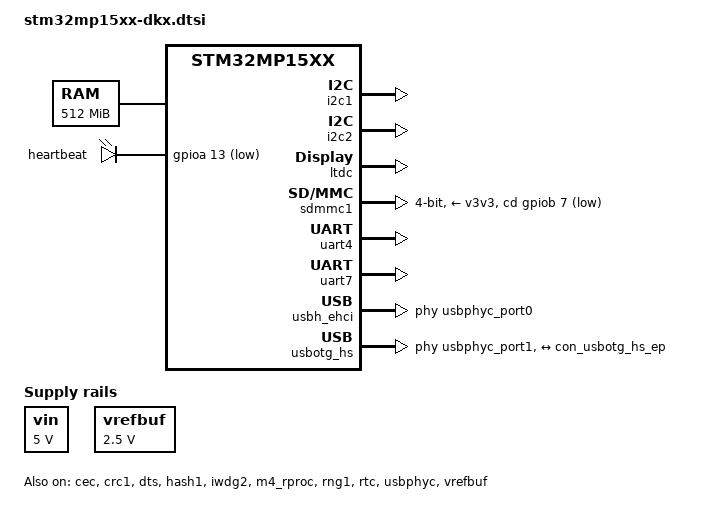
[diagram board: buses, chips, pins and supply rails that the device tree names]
// SPDX-License-Identifier: (GPL-2.0+ OR BSD-3-Clause)
/*
 * Copyright (C) STMicroelectronics 2019 - All Rights Reserved
 * Author: Alexandre Torgue <alexandre.torgue@st.com> for STMicroelectronics.
 */

#include <dt-bindings/gpio/gpio.h>
#include <dt-bindings/mfd/st,stpmic1.h>

/ {
	memory@c0000000 {
		device_type = "memory";
		reg = <0xc0000000 0x20000000>;
	};

	reserved-memory {
		#address-cells = <1>;
		#size-cells = <1>;
		ranges;

		mcuram2: mcuram2@10000000 {
			compatible = "shared-dma-pool";
			reg = <0x10000000 0x40000>;
			no-map;
		};

		vdev0vring0: vdev0vring0@10040000 {
			compatible = "shared-dma-pool";
			reg = <0x10040000 0x1000>;
			no-map;
		};

		vdev0vring1: vdev0vring1@10041000 {
			compatible = "shared-dma-pool";
			reg = <0x10041000 0x1000>;
			no-map;
		};

		vdev0buffer: vdev0buffer@10042000 {
			compatible = "shared-dma-pool";
			reg = <0x10042000 0x4000>;
			no-map;
		};

		mcuram: mcuram@30000000 {
			compatible = "shared-dma-pool";
			reg = <0x30000000 0x40000>;
			no-map;
		};

		retram: retram@38000000 {
			compatible = "shared-dma-pool";
			reg = <0x38000000 0x10000>;
			no-map;
		};

		gpu_reserved: gpu@d4000000 {
			reg = <0xd4000000 0x4000000>;
			no-map;
		};
	};

	led {
		compatible = "gpio-leds";
		led-blue {
			label = "heartbeat";
			gpios = <&gpioa 13 GPIO_ACTIVE_LOW>;
			linux,default-trigger = "heartbeat";
			default-state = "on";
		};
	};

	vin: vin {
		compatible = "regulator-fixed";
		regulator-name = "vin";
		regulator-min-microvolt = <5000000>;
		regulator-max-microvolt = <5000000>;
		regulator-always-on;
	};
};

&adc {
	pinctrl-names = "default";
	pinctrl-0 = <&adc12_ain_pins_a>, <&adc12_usb_cc_pins_a>;
	vdd-supply = <&vdd>;
	vdda-supply = <&vdd>;
	vref-supply = <&vrefbuf>;
	status = "disabled";
	adc1: adc@0 {
		/*
		 * Type-C USB_PWR_CC1 & USB_PWR_CC2 on in18 & in19.
		 * Use at least 5 * RC time, e.g. 5 * (Rp + Rd) * C:
		 * 5 * (56 + 47kOhms) * 5pF => 2.5us.
		 * Use arbitrary margin here (e.g. 5us).
		 */
		st,min-sample-time-nsecs = <5000>;
		/* AIN connector, USB Type-C CC1 & CC2 */
		st,adc-channels = <0 1 6 13 18 19>;
		status = "okay";
	};
	adc2: adc@100 {
		/* AIN connector, USB Type-C CC1 & CC2 */
		st,adc-channels = <0 1 2 6 18 19>;
		st,min-sample-time-nsecs = <5000>;
		status = "okay";
	};
};

&cec {
	pinctrl-names = "default", "sleep";
	pinctrl-0 = <&cec_pins_b>;
	pinctrl-1 = <&cec_sleep_pins_b>;
	status = "okay";
};

&crc1 {
	status = "okay";
};

&dts {
	status = "okay";
};

&gpu {
	contiguous-area = <&gpu_reserved>;
};

&hash1 {
	status = "okay";
};

&i2c1 {
	pinctrl-names = "default", "sleep";
	pinctrl-0 = <&i2c1_pins_a>;
	pinctrl-1 = <&i2c1_sleep_pins_a>;
	i2c-scl-rising-time-ns = <100>;
	i2c-scl-falling-time-ns = <7>;
	status = "okay";
	/delete-property/dmas;
	/delete-property/dma-names;
};

&i2c2 {
	pinctrl-names = "default", "sleep";
	pinctrl-0 = <&i2c2_pins_z>;
	pinctrl-1 = <&i2c2_sleep_pins_z>;
	i2c-scl-rising-time-ns = <100>;
	i2c-scl-falling-time-ns = <7>;
	status = "okay";
	/delete-property/dmas;
	/delete-property/dma-names;
};

&i2c4 {
	pinctrl-names = "default", "sleep";
	pinctrl-0 = <&i2c4_pins_a>;
	pinctrl-1 = <&i2c4_sleep_pins_a>;
	i2c-scl-rising-time-ns = <185>;
	i2c-scl-falling-time-ns = <20>;
	clock-frequency = <400000>;
	status = "disabled";
	/* spare dmas for other usage */
	/delete-property/dmas;
	/delete-property/dma-names;

	stusb1600@28 {
		compatible = "st,stusb1600";
		reg = <0x28>;
		interrupts = <11 IRQ_TYPE_LEVEL_LOW>;
		interrupt-parent = <&gpioi>;
		pinctrl-names = "default";
		pinctrl-0 = <&stusb1600_pins_a>;
		status = "okay";
		vdd-supply = <&vin>;

		connector {
			compatible = "usb-c-connector";
			label = "USB-C";
			power-role = "dual";
			typec-power-opmode = "default";

			port {
				con_usbotg_hs_ep: endpoint {
					remote-endpoint = <&usbotg_hs_ep>;
				};
			};
		};
	};

	pmic: stpmic@33 {
		compatible = "st,stpmic1";
		reg = <0x33>;
		interrupts-extended = <&gpioa 0 IRQ_TYPE_EDGE_FALLING>;
		interrupt-controller;
		#interrupt-cells = <2>;
		status = "okay";

		regulators {
			compatible = "st,stpmic1-regulators";
			buck1-supply = <&vin>;
			buck2-supply = <&vin>;
			buck3-supply = <&vin>;
			buck4-supply = <&vin>;
			ldo1-supply = <&v3v3>;
//			ldo2-supply = <&vin>;
			ldo3-supply = <&vdd_ddr>;
			ldo4-supply = <&vin>;
//			ldo5-supply = <&vin>;
			ldo6-supply = <&v3v3>;
			vref_ddr-supply = <&vin>;
			boost-supply = <&vin>;
			pwr_sw1-supply = <&bst_out>;
			pwr_sw2-supply = <&bst_out>;

			vddcore: buck1 {
				regulator-name = "vddcore";
				regulator-min-microvolt = <1200000>;
				regulator-max-microvolt = <1350000>;
				regulator-always-on;
				regulator-initial-mode = <0>;
				regulator-over-current-protection;
			};

			vdd_ddr: buck2 {
				regulator-name = "vdd_ddr";
				regulator-min-microvolt = <1350000>;
				regulator-max-microvolt = <1350000>;
				regulator-always-on;
				regulator-initial-mode = <0>;
				regulator-over-current-protection;
			};

			vdd: buck3 {
				regulator-name = "vdd";
				regulator-min-microvolt = <3300000>;
				regulator-max-microvolt = <3300000>;
				regulator-always-on;
				st,mask-reset;
				regulator-initial-mode = <0>;
				regulator-over-current-protection;
			};

			v3v3: buck4 {
				regulator-name = "v3v3";
				regulator-min-microvolt = <3300000>;
				regulator-max-microvolt = <3300000>;
				regulator-always-on;
				regulator-over-current-protection;
				regulator-initial-mode = <0>;
			};

			v1v8_audio: ldo1 {
				regulator-name = "v1v8_audio";
				regulator-min-microvolt = <1800000>;
				regulator-max-microvolt = <1800000>;
				regulator-always-on;
				interrupts = <IT_CURLIM_LDO1 0>;
			};

			v3v3_hdmi: ldo2 {
				regulator-name = "v3v3_hdmi";
				regulator-min-microvolt = <3300000>;
				regulator-max-microvolt = <3300000>;
				regulator-always-on;
				interrupts = <IT_CURLIM_LDO2 0>;
			};

			vdd_usb: ldo4 {
				regulator-name = "vdd_usb";
				interrupts = <IT_CURLIM_LDO4 0>;
			};

			v1v2_hdmi: ldo6 {
				regulator-name = "v1v2_hdmi";
				regulator-min-microvolt = <1200000>;
				regulator-max-microvolt = <1200000>;
				regulator-always-on;
				interrupts = <IT_CURLIM_LDO6 0>;
			};

			vref_ddr: vref_ddr {
				regulator-name = "vref_ddr";
				regulator-always-on;
			};

			bst_out: boost {
				regulator-name = "bst_out";
				interrupts = <IT_OCP_BOOST 0>;
			};

			vbus_otg: pwr_sw1 {
				regulator-name = "vbus_otg";
				interrupts = <IT_OCP_OTG 0>;
			 };

			vbus_sw: pwr_sw2 {
				regulator-name = "vbus_sw";
				interrupts = <IT_OCP_SWOUT 0>;
				regulator-active-discharge = <1>;
			};
		};

		onkey {
			compatible = "st,stpmic1-onkey";
			interrupts = <IT_PONKEY_F 0>, <IT_PONKEY_R 0>;
			interrupt-names = "onkey-falling", "onkey-rising";
			power-off-time-sec = <10>;
//			status = "okay";
		};

		watchdog {
			compatible = "st,stpmic1-wdt";
			status = "disabled";
		};
	};
};

&ipcc {
	status = "okay";
};

&iwdg2 {
	timeout-sec = <32>;
	status = "okay";
};

&ltdc {
	pinctrl-names = "default", "sleep";
	pinctrl-0 = <&ltdc_pins_a>;
	pinctrl-1 = <&ltdc_sleep_pins_a>;
	status = "okay";

	port {
		ltdc_ep0_out: endpoint@0 {
			reg = <0>;

			//fen-D
//			remote-endpoint = <&sii9022_in>;
		};
	};
};

&m4_rproc {
	memory-region = <&retram>, <&mcuram>, <&mcuram2>, <&vdev0vring0>,
			<&vdev0vring1>, <&vdev0buffer>;
	mboxes = <&ipcc 0>, <&ipcc 1>, <&ipcc 2>, <&ipcc 3>;
	mbox-names = "vq0", "vq1", "shutdown", "detach";
	interrupt-parent = <&exti>;
	interrupts = <68 1>;
	status = "okay";
};

&pwr_regulators {
	vdd-supply = <&vdd>;
	vdd_3v3_usbfs-supply = <&vdd_usb>;
};

&rng1 {
	status = "okay";
};

&rtc {
	status = "okay";
};

//fen+
&sdmmc1 {
	pinctrl-names = "default", "opendrain", "sleep";
	pinctrl-0 = <&sdmmc1_b4_pins_a>;
	pinctrl-1 = <&sdmmc1_b4_od_pins_a>;
	pinctrl-2 = <&sdmmc1_b4_sleep_pins_a>;
	cd-gpios = <&gpiob 7 (GPIO_ACTIVE_LOW | GPIO_PULL_UP)>;
	disable-wp;
	st,neg-edge;
	bus-width = <4>;
	vmmc-supply = <&v3v3>;
	status = "okay";
};

&sdmmc3 {
	pinctrl-names = "default", "opendrain", "sleep";
	pinctrl-0 = <&sdmmc3_b4_pins_a>;
	pinctrl-1 = <&sdmmc3_b4_od_pins_a>;
	pinctrl-2 = <&sdmmc3_b4_sleep_pins_a>;
	broken-cd;
	st,neg-edge;
	bus-width = <4>;
	vmmc-supply = <&v3v3>;
	status = "disabled";
};

&timers1 {
	/* spare dmas for other usage */
	/delete-property/dmas;
	/delete-property/dma-names;
	status = "disabled";
	pwm {
		pinctrl-0 = <&pwm1_pins_a>;
		pinctrl-1 = <&pwm1_sleep_pins_a>;
		pinctrl-names = "default", "sleep";
		status = "okay";
	};
	timer@0 {
		status = "okay";
	};
};

&timers3 {
	/delete-property/dmas;
	/delete-property/dma-names;
	status = "disabled";
	pwm {
		pinctrl-0 = <&pwm3_pins_a>;
		pinctrl-1 = <&pwm3_sleep_pins_a>;
		pinctrl-names = "default", "sleep";
		status = "okay";
	};
	timer@2 {
		status = "okay";
	};
};

&timers4 {
	/delete-property/dmas;
	/delete-property/dma-names;
	status = "disabled";
	pwm {
		pinctrl-0 = <&pwm4_pins_a &pwm4_pins_b>;
		pinctrl-1 = <&pwm4_sleep_pins_a &pwm4_sleep_pins_b>;
		pinctrl-names = "default", "sleep";
		status = "okay";
	};
	timer@3 {
		status = "okay";
	};
};

&timers5 {
	/delete-property/dmas;
	/delete-property/dma-names;
	status = "disabled";
	pwm {
		pinctrl-0 = <&pwm5_pins_a>;
		pinctrl-1 = <&pwm5_sleep_pins_a>;
		pinctrl-names = "default", "sleep";
		status = "okay";
	};
	timer@4 {
		status = "okay";
	};
};

&timers6 {
	/delete-property/dmas;
	/delete-property/dma-names;
	status = "disabled";
	timer@5 {
		status = "okay";
	};
};

&timers12 {
	/delete-property/dmas;
	/delete-property/dma-names;
	status = "disabled";
	pwm {
		pinctrl-0 = <&pwm12_pins_a>;
		pinctrl-1 = <&pwm12_sleep_pins_a>;
		pinctrl-names = "default", "sleep";
		status = "okay";
	};
	timer@11 {
		status = "okay";
	};
};

&uart4 {
	pinctrl-names = "default", "sleep", "idle";
	pinctrl-0 = <&uart4_pins_a>;
	pinctrl-1 = <&uart4_sleep_pins_a>;
	pinctrl-2 = <&uart4_idle_pins_a>;
	status = "okay";
};

&uart7 {
	pinctrl-names = "default", "sleep", "idle";
	pinctrl-0 = <&uart7_pins_d>;
	pinctrl-1 = <&uart7_sleep_pins_d>;
	pinctrl-2 = <&uart7_idle_pins_d>;
	status = "okay";
};

&usbh_ehci {
	phys = <&usbphyc_port0>;
	status = "okay";
};

&usbotg_hs {
	phys = <&usbphyc_port1 0>;
	phy-names = "usb2-phy";
	usb-role-switch;
	status = "okay";

	port {
		usbotg_hs_ep: endpoint {
			remote-endpoint = <&con_usbotg_hs_ep>;
		};
	};
};

&usbphyc {
	status = "okay";
};

&usbphyc_port0 {
	phy-supply = <&vdd_usb>;
	st,tune-hs-dc-level = <2>;
	st,enable-fs-rftime-tuning;
	st,enable-hs-rftime-reduction;
	st,trim-hs-current = <15>;
	st,trim-hs-impedance = <1>;
	st,tune-squelch-level = <3>;
	st,tune-hs-rx-offset = <2>;
	st,no-lsfs-sc;
};

&usbphyc_port1 {
	phy-supply = <&vdd_usb>;
	st,tune-hs-dc-level = <2>;
	st,enable-fs-rftime-tuning;
	st,enable-hs-rftime-reduction;
	st,trim-hs-current = <15>;
	st,trim-hs-impedance = <1>;
	st,tune-squelch-level = <3>;
	st,tune-hs-rx-offset = <2>;
	st,no-lsfs-sc;
};

&vrefbuf {
	regulator-min-microvolt = <2500000>;
	regulator-max-microvolt = <2500000>;
	vdda-supply = <&vdd>;
	status = "okay";
};

//12345
